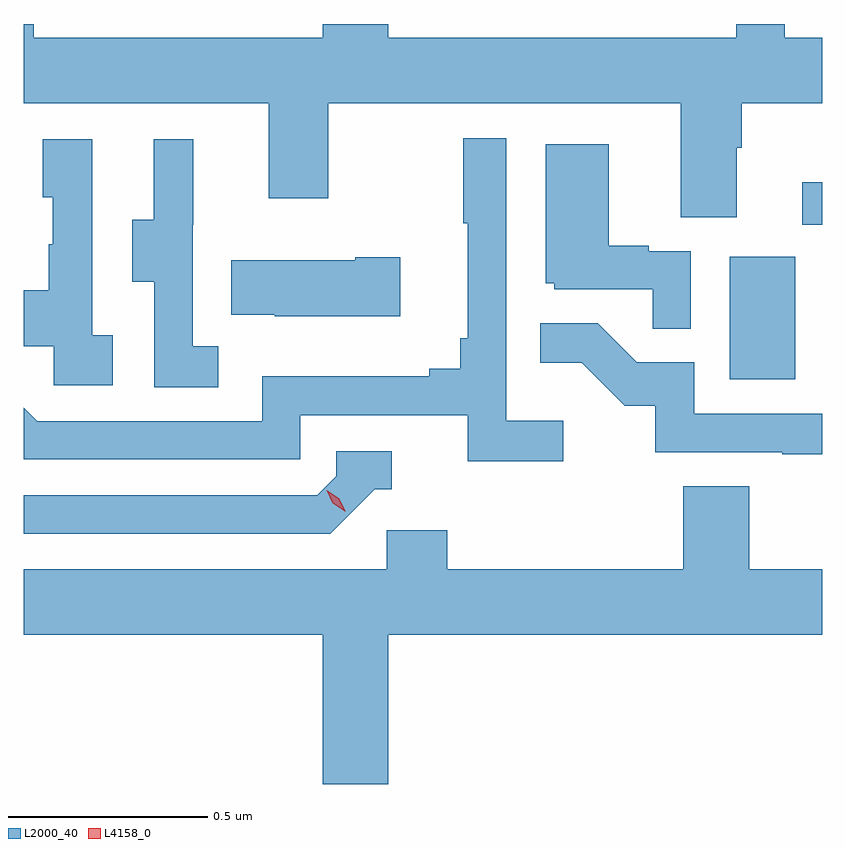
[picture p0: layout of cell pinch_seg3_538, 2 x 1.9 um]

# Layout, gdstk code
import gdstk
lib = gdstk.Library(unit=1e-6, precision=1e-09)
def R(c, l, rs):  # rectangles x0, y0, x1, y1
    for r in rs: c.add(gdstk.rectangle(r[:2], r[2:], *l))
def P(c, l, *ps):  # polygons
    for p in ps: c.add(gdstk.Polygon(p, *l))
L2000_40 = (2000, 40)
L4158_0 = (4158, 0)

pinch_seg3_538 = lib.new_cell('pinch_seg3_538')
R(pinch_seg3_538, L2000_40, [(1089.104,704.22,1089.268,704.527), (1089.285,704.607,1089.335,704.713)])
P(pinch_seg3_538, L2000_40, [(1089.121,704.8),(1089.134,704.8),(1089.134,704.912),(1089.335,704.912),(1089.335,705.076),(1089.241,705.076),(1089.241,705.11),(1089.12,705.11),(1089.12,705.076),(1088.248,705.076),(1088.248,705.11),(1088.084,705.11),(1088.084,705.076),(1087.36,705.076),(1087.36,705.11),(1087.335,705.11),(1087.335,704.912),(1087.949,704.912),(1087.949,704.673),(1088.097,704.673),(1088.097,704.912),(1088.981,704.912),(1088.981,704.626),(1089.121,704.626)],
  [(1088.686,704.116),(1088.544,704.116),(1088.544,704.824),(1088.436,704.824),(1088.436,704.611),(1088.447,704.611),(1088.447,704.323),(1088.428,704.323),(1088.428,704.246),(1088.351,704.246),(1088.351,704.227),(1087.932,704.227),(1087.932,704.115),(1087.368,704.115),(1087.335,704.148),(1087.335,704.019),(1088.028,704.019),(1088.028,704.13),(1088.447,704.13),(1088.447,704.014),(1088.686,704.014)],
  [(1087.822,704.303),(1087.758,704.303),(1087.758,704.607),(1087.76,704.607),(1087.76,704.821),(1087.661,704.821),(1087.661,704.619),(1087.607,704.619),(1087.607,704.464),(1087.662,704.464),(1087.662,704.2),(1087.822,704.2)],
  [(1087.558,704.33),(1087.506,704.33),(1087.506,704.821),(1087.382,704.821),(1087.382,704.676),(1087.408,704.676),(1087.408,704.558),(1087.398,704.558),(1087.398,704.443),(1087.335,704.443),(1087.335,704.303),(1087.41,704.303),(1087.41,704.205),(1087.558,704.205)],
  [(1089.006,704.541),(1088.9,704.541),(1088.9,704.554),(1088.8,704.554),(1088.8,704.809),(1088.642,704.809),(1088.642,704.46),(1088.664,704.46),(1088.664,704.445),(1088.911,704.445),(1088.911,704.347),(1089.006,704.347)],
  [(1088.278,704.526),(1088.165,704.526),(1088.165,704.518),(1087.855,704.518),(1087.855,704.381),(1087.963,704.381),(1087.963,704.378),(1088.278,704.378)],
  [(1089.335,704.133),(1089.015,704.133),(1089.015,704.262),(1088.871,704.262),(1088.773,704.36),(1088.629,704.36),(1088.629,704.261),(1088.733,704.261),(1088.84,704.154),(1088.917,704.154),(1088.917,704.037),(1089.235,704.037),(1089.235,704.032),(1089.335,704.032)],
  [(1088.214,703.944),(1088.257,703.944),(1088.257,704.04),(1088.118,704.04),(1088.118,703.977),(1088.07,703.929),(1087.335,703.929),(1087.335,703.833),(1088.103,703.833)],
  [(1088.248,703.58),(1089.335,703.58),(1089.335,703.744),(1089.152,703.744),(1089.152,703.952),(1088.987,703.952),(1088.987,703.744),(1088.396,703.744),(1088.396,703.842),(1088.244,703.842),(1088.244,703.744),(1087.335,703.744),(1087.335,703.58),(1088.084,703.58),(1088.084,703.206),(1088.248,703.206)])
P(pinch_seg3_538, L4158_0, [(1088.139,703.889),(1088.109,703.909),(1088.094,703.942),(1088.094,703.942),(1088.094,703.942),(1088.124,703.922),(1088.14,703.89),(1088.14,703.889)])

lib.write_gds('pinch_seg3_538.gds')
